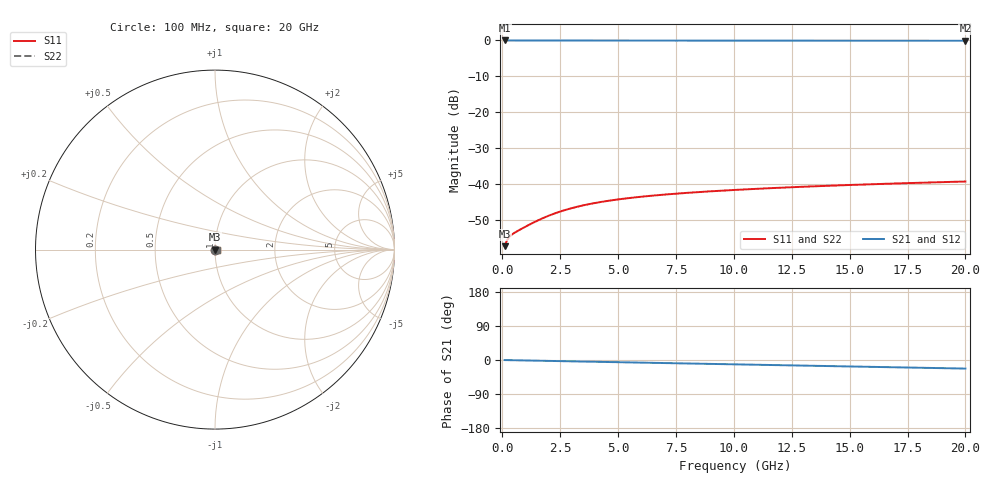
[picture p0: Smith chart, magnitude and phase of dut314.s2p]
! Touchstone file exported from HFSS 2026.1.0
!  File:  C:/ffzhzh/LocalFiles/Ansys_Project_Files/temp_train_BSMRDL_314_1783010710_51716.aedt
!  Generated:  12:46:25 AM Jul  3, 2026
!  Design:  BSMRDL
!  Project:  temp_train_BSMRDL_314_1783010710_51716
! Variables:
!  h_bsmrdl = 5.81um
!  h_ox = 20um
!  h_rdl = 5um
!  h_sub = 80um
!  h_tmrdl = 5um
!  h_tsv = 80um
!  h_via = 3um
!  l_bsmrdl = 401.98um
!  l_sub = 801.98um
!  l_tmrdl = 200um
!  m_sub = 200um
!  pitch = 28.71um
!  r_tsv = 6um
!  s_tmrdl = 10um
!  w_bsmrdl = 23.12um
!  w_sub = 500um
!  w_tmrdl = 12um
!  x_tsv_center1 = 206um
!  x_tsv_center2 = 631.1um
!  x_tsv_center3 = 843.1um
!  x_tsv_center4 = 1268.2um
!  x_tsv_center5 = 1480.2um
!  x_tsv_center6 = 1905.3um
# GHz S MA R 50.000000
! Terminal data exported
! Port[1] = BSM_RDL1_1_T1
! Port[2] = BSM_RDL1_1_T2
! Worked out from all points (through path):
!   200 points, 100 MHz to 20 GHz, reference 50 ohm
!   highest |S21| = -0.01 dB at 100 MHz (marker M1); lowest = -0.1 dB at 20 GHz (marker M2)
!   group delay of S21, straight-line fit = 3.13 ps
!   lowest |S11| = -57.3 dB at 100 MHz (marker M3), VSWR 1.00, Z = 50.1 + j0.0408 ohm
!   |S11| at or under -10 dB: start of sweep to end of sweep
!   |S22| runs from -57.3 to -39.3 dB; largest |S21 - S12| = 3.3e-15
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0.1  0.001358 17.4  0.9987 -0.1  0.9987 -0.1  0.001358 17.4
! Gamma 0 0 0 0
! Port Impedance 50 0 50 0
0.2  0.001635 22.4  0.9985 -0.3  0.9985 -0.3  0.001635 22.4
0.3  0.001825 23.6  0.9983 -0.4  0.9983 -0.4  0.001825 23.6
0.4  0.001956 24.7  0.9982 -0.5  0.9982 -0.5  0.001956 24.7
0.6  0.002155 27.3  0.9981 -0.7  0.9981 -0.7  0.002155 27.3
1.2  0.002742 34.7  0.9977 -1.4  0.9977 -1.4  0.002742 34.7
1.5  0.003063 36.8  0.9976 -1.8  0.9976 -1.8  0.003063 36.8
1.8  0.003389 37.9  0.9974 -2.1  0.9974 -2.1  0.003389 37.9
2.3  0.00392 38.3  0.997 -2.7  0.997 -2.7  0.00392 38.3
2.6  0.004222 38.0  0.9968 -3.1  0.9968 -3.1  0.004222 38.0
2.9  0.004509 37.4  0.9966 -3.4  0.9966 -3.4  0.004509 37.4
3.5  0.005034 35.6  0.9961 -4.1  0.9961 -4.1  0.005034 35.6
4.2  0.005566 33.3  0.9956 -4.9  0.9956 -4.9  0.005566 33.3
4.9  0.006026 30.9  0.9951 -5.7  0.9951 -5.7  0.006026 30.9
5.8  0.006533 27.9  0.9946 -6.7  0.9946 -6.7  0.006534 27.9
6.8  0.007016 24.8  0.9941 -7.9  0.9941 -7.9  0.007017 24.8
8.3  0.007634 20.5  0.9933 -9.5  0.9933 -9.5  0.007635 20.5
10.1  0.00827 15.7  0.9926 -11.6  0.9926 -11.6  0.008271 15.8
11.7  0.00877 11.7  0.992 -13.4  0.992 -13.4  0.008773 11.7
13.4  0.009254 7.6  0.9914 -15.3  0.9914 -15.3  0.009257 7.6
16.7  0.01008 -0.2  0.9903 -19.0  0.9903 -19.0  0.01009 -0.1
20  0.01081 -7.7  0.9893 -22.6  0.9893 -22.6  0.01082 -7.7
